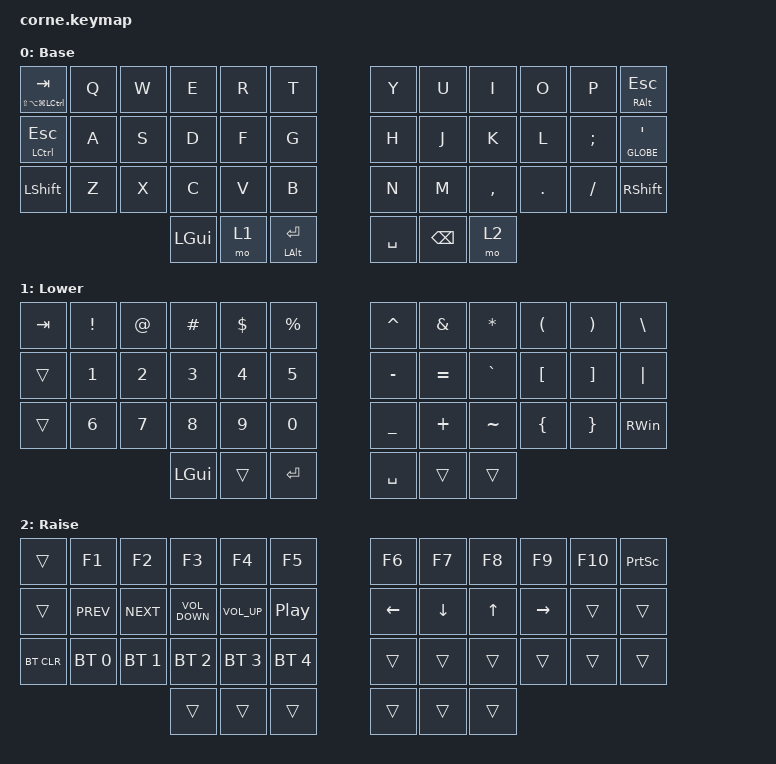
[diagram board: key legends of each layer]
/*
 * Copyright (c) 2020 The ZMK Contributors
 *
 * SPDX-License-Identifier: MIT
 */

#include <behaviors.dtsi>
#include <dt-bindings/zmk/bt.h>
#include <dt-bindings/zmk/keys.h>

/ {
    keymap {
        compatible = "zmk,keymap";

        default_layer {
            // -----------------------------------------------------------------------------------------
            // |  TAB |  Q  |  W  |  E  |  R  |  T  |   |  Y  |  U   |  I  |  O  |  P  | BKSP |
            // | CTRL |  A  |  S  |  D  |  F  |  G  |   |  H  |  J   |  K  |  L  |  ;  |  '   |
            // | SHFT |  Z  |  X  |  C  |  V  |  B  |   |  N  |  M   |  ,  |  .  |  /  | ESC  |
            //                    | GUI | LWR | ENT |   | SPACE | RSE  | ALT |

            label = "Base";
            bindings = <
&mt LS(LA(LG(LCTRL))) TAB  &kp Q  &kp W  &kp E     &kp R  &kp T                 &kp Y      &kp U          &kp I      &kp O    &kp P     &mt RIGHT_ALT ESCAPE
&mt LCTRL ESCAPE           &kp A  &kp S  &kp D     &kp F  &kp G                 &kp H      &kp J          &kp K      &kp L    &kp SEMI  &mt GLOBE SQT
&kp LSHFT                  &kp Z  &kp X  &kp C     &kp V  &kp B                 &kp N      &kp M          &kp COMMA  &kp DOT  &kp FSLH  &kp RSHIFT
                                         &kp LGUI  &mo 1  &mt LEFT_ALT ENTER    &kp SPACE  &kp BACKSPACE  &mo 2
            >;
        };

        lower_layer {
            // -----------------------------------------------------------------------------------------
            // |  TAB |  1  |  2  |  3  |  4  |  5  |   |  6  |  7  |  8  |  9  |  0  | BKSP |
            // | BTCLR| BT1 | BT2 | BT3 | BT4 | BT5 |   | LFT | DWN |  UP | RGT |     |      |
            // | SHFT |     |     |     |     |     |   |     |     |     |     |     |      |
            //                    | GUI |     | SPC |   | ENT |     | ALT |

            label = "Lower";
            bindings = <
&kp TAB  &kp EXCLAMATION  &kp AT_SIGN   &kp HASH      &kp DOLLAR    &kp PERCENT    &kp CARET       &kp AMPERSAND  &kp ASTERISK  &kp LEFT_PARENTHESIS  &kp RIGHT_PARENTHESIS  &kp BACKSLASH
&trans   &kp NUMBER_1     &kp NUMBER_2  &kp NUMBER_3  &kp NUMBER_4  &kp N5         &kp MINUS       &kp EQUAL      &kp GRAVE     &kp LEFT_BRACKET      &kp RIGHT_BRACKET      &kp PIPE
&trans   &kp NUMBER_6     &kp N7        &kp N8        &kp N9        &kp N0         &kp UNDERSCORE  &kp PLUS       &kp TILDE     &kp LEFT_BRACE        &kp RIGHT_BRACE        &kp RIGHT_WIN
                                        &kp LGUI      &trans        &kp RET        &kp SPACE       &trans         &trans
            >;
        };

        raise_layer {
            // -----------------------------------------------------------------------------------------
            // |  TAB |  !  |  @  |  #  |  $  |  %  |   |  ^  |  &  |  *  |  (  |  )  | BKSP |
            // | CTRL |     |     |     |     |     |   |  -  |  =  |  [  |  ]  |  \  |  `   |
            // | SHFT |     |     |     |     |     |   |  _  |  +  |  {  |  }  | "|" |  ~   |
            //                    | GUI |     | SPC |   | ENT |     | ALT |

            label = "Raise";
            bindings = <
&trans      &kp F1        &kp F2        &kp F3             &kp F4        &kp F5              &kp F6    &kp F7    &kp F8        &kp F9     &kp F10  &kp PRINTSCREEN
&trans      &kp C_PREV    &kp C_NEXT    &kp C_VOLUME_DOWN  &kp C_VOL_UP  &kp C_PLAY_PAUSE    &kp LEFT  &kp DOWN  &kp UP_ARROW  &kp RIGHT  &trans   &trans
&bt BT_CLR  &bt BT_SEL 0  &bt BT_SEL 1  &bt BT_SEL 2       &bt BT_SEL 3  &bt BT_SEL 4        &trans    &trans    &trans        &trans     &trans   &trans
                                        &trans             &trans        &trans              &trans    &trans    &trans
            >;
        };
    };
};
